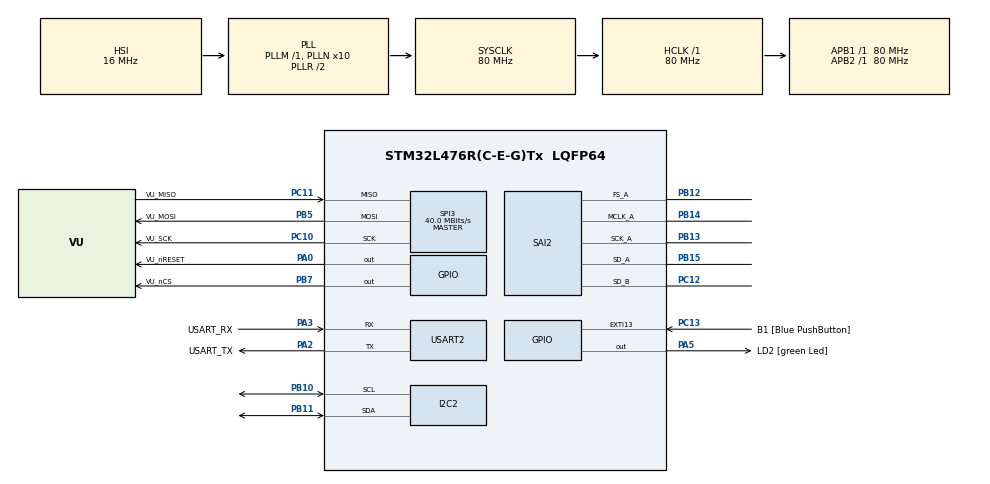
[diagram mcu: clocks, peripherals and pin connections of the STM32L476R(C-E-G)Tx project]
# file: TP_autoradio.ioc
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Dma.Request0=SAI2_A
Dma.Request1=SAI2_B
Dma.SAI2_A.0.Direction=DMA_MEMORY_TO_PERIPH
Dma.SAI2_A.0.Instance=DMA1_Channel6
Dma.SAI2_A.0.MemDataAlignment=DMA_MDATAALIGN_WORD
Dma.SAI2_A.0.MemInc=DMA_MINC_ENABLE
Dma.SAI2_A.0.Mode=DMA_CIRCULAR
Dma.SAI2_A.0.PeriphDataAlignment=DMA_PDATAALIGN_WORD
Dma.SAI2_A.0.PeriphInc=DMA_PINC_DISABLE
Dma.SAI2_A.0.Priority=DMA_PRIORITY_LOW
Dma.SAI2_B.1.Direction=DMA_PERIPH_TO_MEMORY
Dma.SAI2_B.1.Instance=DMA1_Channel7
Dma.SAI2_B.1.MemDataAlignment=DMA_MDATAALIGN_WORD
Dma.SAI2_B.1.MemInc=DMA_MINC_ENABLE
Dma.SAI2_B.1.Mode=DMA_CIRCULAR
Dma.SAI2_B.1.PeriphDataAlignment=DMA_PDATAALIGN_WORD
Dma.SAI2_B.1.PeriphInc=DMA_PINC_DISABLE
Dma.SAI2_B.1.Priority=DMA_PRIORITY_LOW
FREERTOS.Tasks01=defaultTask,0,128,StartDefaultTask,Default,NULL,Dynamic,NULL,NULL
FREERTOS.configUSE_NEWLIB_REENTRANT=1
I2C2.Timing=0x10D19CE4
Mcu.Family=STM32L4
Mcu.Name=STM32L476R(C-E-G)Tx
Mcu.Package=LQFP64
NVIC.DMA1_Channel6_IRQn=true\:5\:0\:false\:false\:true\:true\:false\:true\:true
NVIC.DMA1_Channel7_IRQn=true\:5\:0\:false\:false\:true\:true\:false\:true\:true
NVIC.PriorityGroup=NVIC_PRIORITYGROUP_4
NVIC.SAI2_IRQn=true\:5\:0\:false\:false\:true\:true\:true\:true\:true
NVIC.TIM7_IRQn=true\:15\:0\:false\:false\:true\:false\:false\:true\:true
NVIC.TimeBase=TIM7_IRQn
NVIC.TimeBaseIP=TIM7
NVIC.USART2_IRQn=true\:5\:0\:false\:false\:true\:true\:true\:true\:true
PA0.GPIO_Label=VU_nRESET
PA0.PinState=GPIO_PIN_SET
PA0.Signal=GPIO_Output
PA13\ (JTMS-SWDIO).GPIO_Label=TMS
PA13\ (JTMS-SWDIO).Mode=Serial_Wire
PA13\ (JTMS-SWDIO).Signal=SYS_JTMS-SWDIO
PA14\ (JTCK-SWCLK).GPIO_Label=TCK
PA14\ (JTCK-SWCLK).Mode=Serial_Wire
PA14\ (JTCK-SWCLK).Signal=SYS_JTCK-SWCLK
PA2.GPIO_Label=USART_TX
PA2.GPIO_Mode=GPIO_MODE_AF_PP
PA2.GPIO_PuPd=GPIO_NOPULL
PA2.GPIO_Speed=GPIO_SPEED_FREQ_VERY_HIGH
PA2.Mode=Asynchronous
PA2.Signal=USART2_TX
PA3.GPIO_Label=USART_RX
PA3.GPIO_Mode=GPIO_MODE_AF_PP
PA3.GPIO_PuPd=GPIO_NOPULL
PA3.GPIO_Speed=GPIO_SPEED_FREQ_VERY_HIGH
PA3.Mode=Asynchronous
PA3.Signal=USART2_RX
PA5.GPIO_Label=LD2 [green Led]
PA5.GPIO_ModeDefaultOutputPP=GPIO_MODE_OUTPUT_PP
PA5.GPIO_PuPd=GPIO_NOPULL
PA5.GPIO_Speed=GPIO_SPEED_FREQ_LOW
PA5.Signal=GPIO_Output
PB10.Mode=I2C
PB10.Signal=I2C2_SCL
PB11.Mode=I2C
PB11.Signal=I2C2_SDA
PB12.Mode=SAI_A_MasterWithClock
PB12.Signal=SAI2_FS_A
PB13.Mode=SAI_A_MasterWithClock
PB13.Signal=SAI2_SCK_A
PB14.Mode=SAI_A_MasterWithClock
PB14.Signal=SAI2_MCLK_A
PB15.Mode=SAI_A_MasterWithClock
PB15.Signal=SAI2_SD_A
PB3\ (JTDO-TRACESWO).GPIO_Label=SWO
PB3\ (JTDO-TRACESWO).Signal=SYS_JTDO-SWO
PB5.GPIO_Label=VU_MOSI
PB5.Mode=Full_Duplex_Master
PB5.Signal=SPI3_MOSI
PB7.GPIO_Label=VU_nCS
PB7.PinState=GPIO_PIN_SET
PB7.Signal=GPIO_Output
PC10.GPIO_Label=VU_SCK
PC10.Mode=Full_Duplex_Master
PC10.Signal=SPI3_SCK
PC11.GPIO_Label=VU_MISO
PC11.Mode=Full_Duplex_Master
PC11.Signal=SPI3_MISO
PC12.Mode=SAI_B_SyncSlave
PC12.Signal=SAI2_SD_B
PC13.GPIO_Label=B1 [Blue PushButton]
PC13.GPIO_ModeDefaultEXTI=GPIO_MODE_IT_FALLING
PC13.GPIO_PuPd=GPIO_NOPULL
PC13.Signal=GPXTI13
PC14-OSC32_IN\ (PC14).Mode=LSE-External-Oscillator
PC14-OSC32_IN\ (PC14).Signal=RCC_OSC32_IN
PC15-OSC32_OUT\ (PC15).Mode=LSE-External-Oscillator
PC15-OSC32_OUT\ (PC15).Signal=RCC_OSC32_OUT
PH0-OSC_IN\ (PH0).Signal=RCC_OSC_IN
PH1-OSC_OUT\ (PH1).Signal=RCC_OSC_OUT
ProjectManager.HeapSize=0x200
ProjectManager.StackSize=0x400
ProjectManager.TargetToolchain=STM32CubeIDE
RCC.ADCFreq_Value=104000000
RCC.AHBFreq_Value=80000000
RCC.APB1Freq_Value=80000000
RCC.APB1TimFreq_Value=80000000
RCC.APB2Freq_Value=80000000
RCC.APB2TimFreq_Value=80000000
RCC.CortexFreq_Value=80000000
RCC.HCLKFreq_Value=80000000
RCC.HSE_VALUE=8000000
RCC.HSI_VALUE=16000000
RCC.MSI_VALUE=4000000
RCC.PLLN=10
RCC.PLLSAI1N=13
RCC.PLLSAI1P=RCC_PLLP_DIV17
RCC.PLLSourceVirtual=RCC_PLLSOURCE_HSI
RCC.PREFETCH_ENABLE=1
RCC.SYSCLKFreq_VALUE=80000000
RCC.SYSCLKSource=RCC_SYSCLKSOURCE_PLLCLK
RCC.USBFreq_Value=104000000
RCC.VCOOutputFreq_Value=160000000
SAI2.AudioFrequency-SAI_A_MasterWithClock=SAI_AUDIO_FREQUENCY_48K
SAI2.ErrorAudioFreq-SAI_A_MasterWithClock=-0.42 %
SAI2.InitProtocol-SAI_A_MasterWithClock=Enable
SAI2.InitProtocol-SAI_B_SyncSlave=Enable
SAI2.Instance-SAI_A_MasterWithClock=SAI$Index_Block_A
SAI2.Instance-SAI_B_SyncSlave=SAI$Index_Block_B
SAI2.MClockEnable-SAI_A_MasterWithClock=SAI_MASTERCLOCK_ENABLE
SAI2.RealAudioFreq-SAI_A_MasterWithClock=47.794 KHz
SAI2.VirtualMode-SAI_A_MasterWithClock=VM_MASTER
SAI2.VirtualMode-SAI_B_SyncSlave=VM_SLAVE
SAI2.VirtualProtocol-SAI_A_BASIC=VM_BASIC_PROTOCOL
SAI2.VirtualProtocol-SAI_B_BASIC=VM_BASIC_PROTOCOL
SPI3.CalculateBaudRate=40.0 MBits/s
SPI3.DataSize=SPI_DATASIZE_8BIT
SPI3.Direction=SPI_DIRECTION_2LINES
SPI3.Mode=SPI_MODE_MASTER
SPI3.VirtualType=VM_MASTER
USART2.VirtualMode-Asynchronous=VM_ASYNC
VP_FREERTOS_VS_CMSIS_V1.Mode=CMSIS_V1
VP_SAI2_VP_$IpInstance_SAIA_SAI_BASIC.Mode=SAI_A_BASIC
VP_SAI2_VP_$IpInstance_SAIB_SAI_BASIC.Mode=SAI_B_BASIC
VP_SYS_VS_tim7.Mode=TIM7
board=NUCLEO-L476RG

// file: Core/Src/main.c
/* USER CODE BEGIN Header */
/**
 ******************************************************************************
 * @file : main.c
 * @brief : Main program body
 ******************************************************************************
 * @attention
 *
 * Copyright (c) 2025 STMicroelectronics.
 * All rights reserved.
 *
 * This software is licensed under terms that can be found in the LICENSE file
 * in the root directory of this software component.
 * If no LICENSE file comes with this software, it is provided AS-IS.
 *
 ******************************************************************************
 */
/* USER CODE END Header */
#include "main.h"
#include "cmsis_os.h"
#include "dma.h"
#include "i2c.h"
#include "sai.h"
#include "spi.h"
#include "usart.h"
#include "gpio.h"

/* USER CODE BEGIN Includes */
#include <string.h>
#include <stdio.h>
#include "shell.h"
#include "drv_uart2.h"
#include "drv_LED.h"
#include "sgtl5000.h"
/* USER CODE END Includes */

/* USER CODE BEGIN PD */
extern SPI_HandleTypeDef hspi3;

#define AUDIO_BLOCK_SIZE 24
#define AUDIO_BUFFER_SIZE (AUDIO_BLOCK_SIZE * 4)

// Defines for triangular wave generation
#define SAMPLE_RATE_HZ 48000
#define TRIANGLE_TEST_FREQ_HZ 440
#define TRIANGLE_MAX_AMPLITUDE 15000
#define TRIANGLE_STEP ((2 * TRIANGLE_MAX_AMPLITUDE) / (SAMPLE_RATE_HZ / TRIANGLE_TEST_FREQ_HZ))
/* USER CODE END PD */

/* USER CODE BEGIN PV */

uint8_t rxbuffer;
SemaphoreHandle_t uartRxSemaphore;
h_shell_t h_shell;
LED_Driver_t led_driver;
h_sgtl5000_t sgtl5000_handle;
uint8_t rxCharBuffer;
/********* Question 3.3 – Buffers I2S *********/
uint16_t audio_tx_buffer[AUDIO_BUFFER_SIZE];
uint16_t audio_rx_buffer[AUDIO_BUFFER_SIZE];

// Global variables for triangle wave generation
int16_t triangle_current_value = 0;
int8_t triangle_direction = 1;

/* USER CODE END PV */

void SystemClock_Config(void);
void PeriphCommonClock_Config(void);
void MX_FREERTOS_Init(void);

/* USER CODE BEGIN 0 */
int __io_putchar(int chr)
{
	HAL_UART_Transmit(&huart2, (uint8_t*) &chr, 1, HAL_MAX_DELAY);
	return chr;
}

//=======QUESTION 6======
/*TaskHandle_t h_shell_task;

void ShellTask(void * argument)
{

shell_init();
shell_run();

}

void HAL_UART_RxCpltCallback(UART_HandleTypeDef *huart)
{
if (huart->Instance == USART2)
{
BaseType_t xHigherPriorityTaskWoken = pdFALSE;

xSemaphoreGiveFromISR(uartRxSemaphore, &xHigherPriorityTaskWoken);
HAL_UART_Receive_IT(&huart2, &rxbuffer, 1);

portYIELD_FROM_ISR(xHigherPriorityTaskWoken);
}
}*/
/*int fonction(h_shell_t * h_shell, int argc, char ** argv)
{
	int size = snprintf (h_shell->print_buffer, BUFFER_SIZE, "LEDs  Toggled\r\n");
	h_shell->drv.transmit(h_shell->print_buffer, size);

	return 0;
}*/

void init_shell(void *unused)
{
	h_shell.drv.receive = drv_uart2_receive;
	h_shell.drv.transmit = drv_uart2_transmit;

	shell_init(&h_shell);
	shell_add(&h_shell, 'l', shell_control_led, "Control LEDs: l <port> <pin> <state>");

	const char *startup_msg = "\r\nType commands:\r\n";
	h_shell.drv.transmit(startup_msg, strlen(startup_msg));
}
void Task_control_Led(void *argument)
{

	LED_Driver_Init(&led_driver);
	init_shell(NULL);
	shell_run(&h_shell);
}

void Task_Chenillard(void *unused)
{

	LED_Driver_Init(&led_driver);
	printf("\r\n Chenillard dans une task\r\n");
	while(1){
		led_driver.chenillard();
	}
}

/*Configuration du CODEC par l’I2C question 2
void task_read_CHIP_ID(void *unused) {
	uint8_t SGTL5000_I2C_ADDR = 0x14;
	uint8_t CHIP_ID_Value[2];
	uint16_t CHIP_ID_Reg = 0x0000;

	HAL_StatusTypeDef status = HAL_I2C_Mem_Read(&hi2c2, SGTL5000_I2C_ADDR,
			CHIP_ID_Reg, I2C_MEMADD_SIZE_16BIT,
			CHIP_ID_Value, 2, 1000);

	if (status == HAL_OK) {
		printf("CHIP_ID = 0x%02X%02X\n", CHIP_ID_Value[0], CHIP_ID_Value[1]);
	} else {
		printf("Erreur de lecture CHIP_ID : %d\n", status);

	}
}*/

/* USER CODE END 0 */

int main(void)
{

	/* MCU Configuration--------------------------------------------------------*/

	/* Reset of all peripherals, Initializes the Flash interface and the Systick. */
	HAL_Init();

	/* Configure the system clock */
	SystemClock_Config();

	/* Configure the peripherals common clocks */
	PeriphCommonClock_Config();

	/* Initialize all configured peripherals */
	MX_GPIO_Init();
	MX_DMA_Init();
	MX_USART2_UART_Init();
	MX_SPI3_Init();
	MX_I2C2_Init();
	MX_SAI2_Init();
	/* USER CODE BEGIN 2 */

	__HAL_SAI_ENABLE(&hsai_BlockA2);
	sgtl5000_handle.hi2c = &hi2c2;
	sgtl5000_handle.i2c_address = SGTL5000_I2C_ADDR_WRITE;
	sgtl5000_init(&sgtl5000_handle);

	// Start SAI DMA transfers
	HAL_SAI_Transmit_DMA(&hsai_BlockA2, (uint8_t*)audio_tx_buffer, AUDIO_BUFFER_SIZE);
	HAL_SAI_Receive_DMA(&hsai_BlockB2, (uint8_t*)audio_rx_buffer, AUDIO_BUFFER_SIZE);
	/*if (xTaskCreate(ShellTask,"shell", 256, NULL,1, &h_shell_task)!=pdPASS)
     {

      printf("error creation task shell\r\n");
      Error_Handler();
     }
     uartRxSemaphore = xSemaphoreCreateBinary();
     if (uartRxSemaphore == NULL)
     {
     Error_Handler();
     }*/

	xTaskCreate(Task_Chenillard,"Task_Chenillard", 256, NULL, 1, NULL);
	xTaskCreate(Task_control_Led,"Task_control_led", 256, NULL, 2, NULL);
	//xTaskCreate(task_read_CHIP_ID,"task_read_CHIP_ID", 256, NULL, 3, NULL);
	vTaskStartScheduler();

	/*h_shell.drv.receive = drv_uart2_receive;
    h_shell.drv.transmit = drv_uart2_transmit;

    shell_init(&h_shell);
    shell_add(&h_shell, 'l', fonction, "loggle LEDs");
    shell_run(&h_shell);*/
	init_MCP23017();
	LED_Driver_t led_driver;
	LED_Driver_Init(&led_driver);

	/* USER CODE END 2 */

	/* Call init function for freertos objects (in cmsis_os2.c) */
	MX_FREERTOS_Init();

	/* Start scheduler */
	osKernelStart();

	/* We should never get here as control is now taken by the scheduler */

	/* Infinite loop */
	while (1)
	{

		/* USER CODE BEGIN 3 */

		//Blink_LEDs();
		//LED_Chenillard();
		//led_driver.blink_all();
	}
	/* USER CODE END 3 */
}

void SystemClock_Config(void)
{
	RCC_OscInitTypeDef RCC_OscInitStruct = {0};
	RCC_ClkInitTypeDef RCC_ClkInitStruct = {0};

	/** Configure the main internal regulator output voltage
	 */
	if (HAL_PWREx_ControlVoltageScaling(PWR_REGULATOR_VOLTAGE_SCALE1) != HAL_OK)
	{
		Error_Handler();
	}

	/** Initializes the RCC Oscillators according to the specified parameters
	 * in the RCC_OscInitTypeDef structure.
	 */
	RCC_OscInitStruct.OscillatorType = RCC_OSCILLATORTYPE_HSI;
	RCC_OscInitStruct.HSIState = RCC_HSI_ON;
	RCC_OscInitStruct.HSICalibrationValue = RCC_HSICALIBRATION_DEFAULT;
	RCC_OscInitStruct.PLL.PLLState = RCC_PLL_ON;
	RCC_OscInitStruct.PLL.PLLSource = RCC_PLLSOURCE_HSI;
	RCC_OscInitStruct.PLL.PLLM = 1;
	RCC_OscInitStruct.PLL.PLLN = 10;
	RCC_OscInitStruct.PLL.PLLP = RCC_PLLP_DIV7;
	RCC_OscInitStruct.PLL.PLLQ = RCC_PLLQ_DIV2;
	RCC_OscInitStruct.PLL.PLLR = RCC_PLLR_DIV2;
	if (HAL_RCC_OscConfig(&RCC_OscInitStruct) != HAL_OK)
	{
		Error_Handler();
	}

	/** Initializes the CPU, AHB and APB buses clocks
	 */
	RCC_ClkInitStruct.ClockType = RCC_CLOCKTYPE_HCLK|RCC_CLOCKTYPE_SYSCLK
			|RCC_CLOCKTYPE_PCLK1|RCC_CLOCKTYPE_PCLK2;
	RCC_ClkInitStruct.SYSCLKSource = RCC_SYSCLKSOURCE_PLLCLK;
	RCC_ClkInitStruct.AHBCLKDivider = RCC_SYSCLK_DIV1;
	RCC_ClkInitStruct.APB1CLKDivider = RCC_HCLK_DIV1;
	RCC_ClkInitStruct.APB2CLKDivider = RCC_HCLK_DIV1;

	if (HAL_RCC_ClockConfig(&RCC_ClkInitStruct, FLASH_LATENCY_4) != HAL_OK)
	{
		Error_Handler();
	}
}

void PeriphCommonClock_Config(void)
{
	RCC_PeriphCLKInitTypeDef PeriphClkInit = {0};

	/** Initializes the peripherals clock
	 */
	PeriphClkInit.PeriphClockSelection = RCC_PERIPHCLK_SAI2;
	PeriphClkInit.Sai2ClockSelection = RCC_SAI2CLKSOURCE_PLLSAI1;
	PeriphClkInit.PLLSAI1.PLLSAI1Source = RCC_PLLSOURCE_HSI;
	PeriphClkInit.PLLSAI1.PLLSAI1M = 1;
	PeriphClkInit.PLLSAI1.PLLSAI1N = 13;
	PeriphClkInit.PLLSAI1.PLLSAI1P = RCC_PLLP_DIV17;
	PeriphClkInit.PLLSAI1.PLLSAI1Q = RCC_PLLQ_DIV2;
	PeriphClkInit.PLLSAI1.PLLSAI1R = RCC_PLLR_DIV2;
	PeriphClkInit.PLLSAI1.PLLSAI1ClockOut = RCC_PLLSAI1_SAI1CLK;
	if (HAL_RCCEx_PeriphCLKConfig(&PeriphClkInit) != HAL_OK)
	{
		Error_Handler();
	}
}

/* USER CODE BEGIN 4 */
void HAL_UART_RxCpltCallback(UART_HandleTypeDef *huart)
{
	if (huart->Instance == USART2)
	{
		BaseType_t xHigherPriorityTaskWoken = pdFALSE;

		xSemaphoreGiveFromISR(uartRxSemaphore, &xHigherPriorityTaskWoken);

		HAL_UART_Receive_IT(&huart2, &rxCharBuffer, 1);

		portYIELD_FROM_ISR(xHigherPriorityTaskWoken);
	}
}

// SAI Transmit Half-Complete Callback
void HAL_SAI_TxHalfCpltCallback(SAI_HandleTypeDef *hsai)
{
	/*if (hsai->Instance == SAI2_Block_A)
	{
		for (int i = 0; i < AUDIO_BLOCK_SIZE; i++) {
			triangle_current_value += triangle_direction * TRIANGLE_STEP;

			if (triangle_current_value >= TRIANGLE_MAX_AMPLITUDE) {
				triangle_current_value = TRIANGLE_MAX_AMPLITUDE; // Cap at max
				triangle_direction = -1; // Change direction to falling
			} else if (triangle_current_value <= -TRIANGLE_MAX_AMPLITUDE) {
				triangle_current_value = -TRIANGLE_MAX_AMPLITUDE; // Cap at min
				triangle_direction = 1; // Change direction to rising
			}
			uint16_t output_sample = (uint16_t)triangle_current_value;

			audio_tx_buffer[(2 * i)] = output_sample; // Left Channel
			audio_tx_buffer[(2 * i) + 1] = output_sample; // Right Channel
		}
	}*/
}

// SAI Transmit Complete Callback
void HAL_SAI_TxCpltCallback(SAI_HandleTypeDef *hsai)
{
	/*if (hsai->Instance == SAI2_Block_A)
	{
		for (int i = 0; i < AUDIO_BLOCK_SIZE; i++) {
			triangle_current_value += triangle_direction * TRIANGLE_STEP;

			if (triangle_current_value >= TRIANGLE_MAX_AMPLITUDE) {
				triangle_current_value = TRIANGLE_MAX_AMPLITUDE;
				triangle_direction = -1;
			} else if (triangle_current_value <= -TRIANGLE_MAX_AMPLITUDE) {
				triangle_current_value = -TRIANGLE_MAX_AMPLITUDE;
				triangle_direction = 1;
			}

			uint16_t output_sample = (uint16_t)triangle_current_value;

			audio_tx_buffer[AUDIO_BLOCK_SIZE * 2 + (2 * i)] = output_sample;
			audio_tx_buffer[AUDIO_BLOCK_SIZE * 2 + (2 * i) + 1] = output_sample;
		}
	}*/
}

void HAL_SAI_RxHalfCpltCallback(SAI_HandleTypeDef *hsai)
{
	if (hsai->Instance == SAI2_Block_B)
	{
		// Process the first half of the RX buffer
		// Copy first half of RX buffer to first half of TX buffer
		for (int i = 0; i < AUDIO_BLOCK_SIZE * 2; i++) {
			audio_tx_buffer[i] = audio_rx_buffer[i];
		}
	}
}

// SAI Receive Complete Callback
void HAL_SAI_RxCpltCallback(SAI_HandleTypeDef *hsai)
{
	if (hsai->Instance == SAI2_Block_B)
	{
		// Process the second half of the RX buffer
		// Copy second half of RX buffer to second half of TX buffer
		for (int i = 0; i < AUDIO_BLOCK_SIZE * 2; i++) {
			audio_tx_buffer[AUDIO_BLOCK_SIZE * 2 + i] = audio_rx_buffer[AUDIO_BLOCK_SIZE * 2 + i];
		}
	}
}
/* USER CODE END 4 */

void HAL_TIM_PeriodElapsedCallback(TIM_HandleTypeDef *htim)
{
	if (htim->Instance == TIM7) {
		HAL_IncTick();
	}
}

void Error_Handler(void)
{
	__disable_irq();
	while (1)
	{
	}
}
